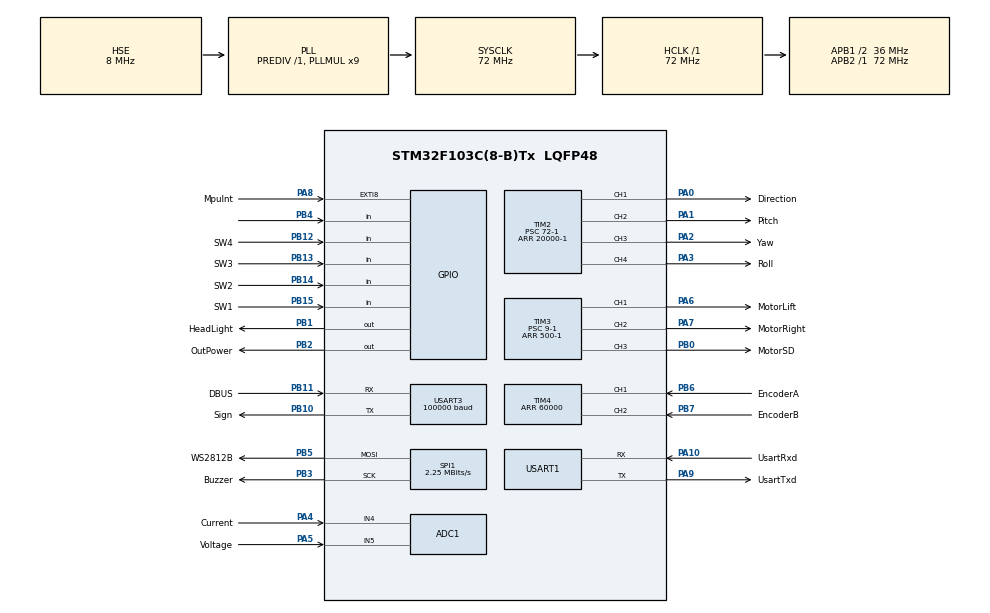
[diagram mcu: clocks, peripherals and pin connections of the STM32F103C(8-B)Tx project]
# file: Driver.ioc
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Mcu.Family=STM32F1
NVIC.USART3_IRQn=true\:5\:0\:true\:false\:true\:true\:true\:true
FREERTOS.Queues01=carSetSpeed,1,float,0,Dynamic,NULL,NULL;carSetDirection,1,float,0,Dynamic,NULL,NULL;carLight,1,uint16_t,0,Dynamic,NULL,NULL;carBuzzer,1,uint16_t,0,Dynamic,NULL,NULL;carControlMode,1,uint16_t,0,Dynamic,NULL,NULL;carControlGear,1,uint16_t,0,Dynamic,NULL,NULL;carRunaway,1,uint16_t,0,Dynamic,NULL,NULL;remoteSpeed,1,float,0,Dynamic,NULL,NULL;remoteDirection,1,float,0,Dynamic,NULL,NULL;carSpiLight,1,uint16_t,0,Dynamic,NULL,NULL;carBreak,1,uint8_t,0,Dynamic,NULL,NULL;carVoltage,1,float,0,Dynamic,NULL,NULL;carCurrent,1,float,0,Dynamic,NULL,NULL;carRealSpeed,1,float,0,Dynamic,NULL,NULL
FREERTOS.BinarySemaphores01=succRemoteUART,Dynamic,NULL;succRemoteDBUS,Dynamic,NULL
NVIC.DMA1_Channel5_IRQn=true\:2\:0\:true\:false\:true\:false\:false\:true
SPI1.VirtualType=VM_MASTER
PB10.Mode=Asynchronous
ADC1.ContinuousConvMode=ENABLE
PB14.GPIO_Label=SW2
VP_IWDG_VS_IWDG.Mode=IWDG_Activate
TIM4.EncoderMode=TIM_ENCODERMODE_TI12
PB0.GPIO_Label=MotorSD
PA6.GPIO_Label=MotorLift
PB6.GPIO_Label=EncoderA
NVIC.TIM1_UP_IRQn=true\:0\:0\:false\:false\:true\:false\:false\:true
TIM2.Channel-PWM\ Generation2\ CH2=TIM_CHANNEL_2
PB13.GPIO_Label=SW3
Dma.ADC1.3.PeriphDataAlignment=DMA_PDATAALIGN_HALFWORD
PB11.Signal=USART3_RX
PB13.Signal=GPIO_Input
PB15.Signal=GPIO_Input
RCC.SYSCLKSource=RCC_SYSCLKSOURCE_PLLCLK
ProjectManager.StackSize=0x400
PD1-OSC_OUT.Signal=RCC_OSC_OUT
NVIC.DMA1_Channel3_IRQn=true\:1\:0\:true\:false\:true\:false\:false\:true
Dma.ADC1.3.MemInc=DMA_MINC_ENABLE
Dma.USART3_RX.2.Priority=DMA_PRIORITY_VERY_HIGH
Dma.USART1_TX.0.Priority=DMA_PRIORITY_HIGH
USART3.BaudRate=100000
Dma.USART1_TX.0.Direction=DMA_MEMORY_TO_PERIPH
TIM2.Pulse-PWM\ Generation3\ CH3=1500
SPI1.Direction=SPI_DIRECTION_2LINES
PB1.GPIO_PuPd=GPIO_PULLDOWN
Dma.USART3_RX.2.PeriphInc=DMA_PINC_DISABLE
RCC.HCLKFreq_Value=72000000
RCC.APB2TimFreq_Value=72000000
TIM3.Period=500-1
PB6.Signal=S_TIM4_CH1
ADC1.Channel-2\#ChannelRegularConversion=ADC_CHANNEL_5
Dma.ADC1.3.PeriphInc=DMA_PINC_DISABLE
SPI1.CalculateBaudRate=2.25 MBits/s
Dma.USART1_RX.1.MemInc=DMA_MINC_ENABLE
RCC.AHBFreq_Value=72000000
TIM3.Channel-PWM\ Generation1\ CH1=TIM_CHANNEL_1
ADC1.Channel-0\#ChannelRegularConversion=ADC_CHANNEL_4
Dma.USART1_RX.1.PeriphDataAlignment=DMA_PDATAALIGN_BYTE
FREERTOS.configUSE_TIMERS=1
PB2.Signal=GPIO_Output
PB3.Mode=TX_Only_Simplex_Unidirect_Master
RCC.PLLMUL=RCC_PLL_MUL9
Dma.ADC1.3.Instance=DMA1_Channel1
PB12.GPIO_Label=SW4
ADC1.Rank-2\#ChannelRegularConversion=2
PA14.Mode=Serial_Wire
Dma.ADC1.3.Mode=DMA_CIRCULAR
VP_SYS_VS_tim1.Mode=TIM1
FREERTOS.HEAP_NUMBER=4
TIM3.Prescaler=9-1
PB1.GPIO_Label=HeadLight
PB5.Mode=TX_Only_Simplex_Unidirect_Master
PA10.GPIO_Label=UsartRxd
SH.S_TIM4_CH2.0=TIM4_CH2,Encoder_Interface
PB7.Signal=S_TIM4_CH2
PA8.Signal=GPXTI8
TIM2.Channel-PWM\ Generation1\ CH1=TIM_CHANNEL_1
SH.S_TIM3_CH1.0=TIM3_CH1,PWM Generation1 CH1
TIM4.Period=60000
VP_FREERTOS_VS_CMSIS_V1.Mode=CMSIS_V1
Dma.USART1_TX.0.PeriphDataAlignment=DMA_PDATAALIGN_BYTE
PB2.GPIO_PuPd=GPIO_PULLUP
ADC1.SamplingTime-0\#ChannelRegularConversion=ADC_SAMPLETIME_13CYCLES_5
FREERTOS.configTOTAL_HEAP_SIZE=8160
TIM3.OCPolarity_2=TIM_OCPOLARITY_HIGH
Dma.USART1_RX.1.Mode=DMA_CIRCULAR
PB7.GPIO_Label=EncoderB
Mcu.Package=LQFP48
TIM2.Prescaler=72-1
PB14.GPIO_PuPd=GPIO_PULLUP
PB1.Signal=GPIO_Output
PA6.Signal=S_TIM3_CH1
NVIC.TimeBase=TIM1_UP_IRQn
PB15.GPIO_PuPd=GPIO_PULLUP
PA2.GPIO_Label=Yaw
IWDG.Reload=625
NVIC.TimeBaseIP=TIM1
PA10.Signal=USART1_RX
Dma.USART1_TX.0.Instance=DMA1_Channel4
TIM2.Pulse-PWM\ Generation2\ CH2=1500
TIM4.IC1Filter=15
Dma.USART1_RX.1.PeriphInc=DMA_PINC_DISABLE
PB5.GPIO_Label=WS2812B
SH.S_TIM4_CH1.0=TIM4_CH1,Encoder_Interface
Dma.Request2=USART3_RX
Dma.Request1=USART1_RX
RCC.APB1TimFreq_Value=72000000
Dma.Request3=ADC1
TIM3.Pulse-PWM\ Generation2\ CH2=0
Dma.USART1_RX.1.Priority=DMA_PRIORITY_HIGH
NVIC.DMA1_Channel4_IRQn=true\:3\:0\:true\:false\:true\:false\:false\:true
NVIC.USART1_IRQn=true\:5\:0\:true\:false\:true\:true\:true\:true
Dma.Request0=USART1_TX
SPI1.BaudRatePrescaler=SPI_BAUDRATEPRESCALER_32
PA4.GPIO_Label=Current
PB4.Signal=GPIO_Input
PA3.Signal=S_TIM2_CH4
PB3.GPIO_Label=Buzzer
RCC.PLLSourceVirtual=RCC_PLLSOURCE_HSE
Dma.USART1_RX.1.Instance=DMA1_Channel5
TIM2.Channel-PWM\ Generation4\ CH4=TIM_CHANNEL_4
Dma.USART1_RX.1.MemDataAlignment=DMA_MDATAALIGN_BYTE
FREERTOS.Tasks01=runawayMonitor,1,128,StartRunawayMonitor,Default,NULL,Dynamic,NULL,NULL;motorPID,2,128,StartMotorPID,Default,NULL,Dynamic,NULL,NULL;remoteDBUS,0,128,StartRemoteDBUS,Default,NULL,Dynamic,NULL,NULL;remoteUART,0,128,StartRemoteUART,Default,NULL,Dynamic,NULL,NULL;lightSPI,-2,128,StartLightSPI,Default,NULL,Dynamic,NULL,NULL;gimbal,-3,128,StartGimbal,Default,NULL,Dynamic,NULL,NULL;featureSelect,-2,128,StartFeatureSelect,Default,NULL,Dynamic,NULL,NULL;statusReturn,-2,128,StartStatusReturn,Default,NULL,Dynamic,NULL,NULL;voltageMonitor,-2,128,StartVoltageMonitor,Default,NULL,Dynamic,NULL,NULL
ADC1.Rank-0\#ChannelRegularConversion=1
Dma.USART1_TX.0.MemInc=DMA_MINC_ENABLE
PD1-OSC_OUT.Mode=HSE-External-Oscillator
Dma.USART1_TX.0.PeriphInc=DMA_PINC_DISABLE
PA10.Mode=Asynchronous
Dma.USART3_RX.2.Mode=DMA_CIRCULAR
TIM3.AutoReloadPreload=TIM_AUTORELOAD_PRELOAD_ENABLE
PA9.GPIO_Label=UsartTxd
FREERTOS.INCLUDE_vTaskDelayUntil=1
Dma.ADC1.3.Priority=DMA_PRIORITY_MEDIUM
PB11.GPIO_Label=DBUS
TIM4.IC2Filter=15
PD0-OSC_IN.Signal=RCC_OSC_IN
RCC.APB1CLKDivider=RCC_HCLK_DIV2
SH.S_TIM3_CH3.0=TIM3_CH3,PWM Generation3 CH3
ADC1.SamplingTime-2\#ChannelRegularConversion=ADC_SAMPLETIME_28CYCLES_5
PA0-WKUP.GPIO_Label=Direction
PA0-WKUP.Signal=S_TIM2_CH1_ETR
TIM2.Pulse-PWM\ Generation1\ CH1=1500
RCC.ADCPresc=RCC_ADCPCLK2_DIV6
PA13.Signal=SYS_JTMS-SWDIO
TIM3.Channel-PWM\ Generation3\ CH3=TIM_CHANNEL_3
SH.S_TIM2_CH2.0=TIM2_CH2,PWM Generation2 CH2
PA9.Mode=Asynchronous
Dma.USART3_RX.2.PeriphDataAlignment=DMA_PDATAALIGN_BYTE
PA8.GPIO_Label=MpuInt
Dma.USART3_RX.2.MemInc=DMA_MINC_ENABLE
PB11.Mode=Asynchronous
ProjectManager.TargetToolchain=MDK-ARM V5.27
PB10.GPIO_Label=Sign
PA9.Signal=USART1_TX
RCC.USBFreq_Value=72000000
Dma.USART3_RX.2.Direction=DMA_PERIPH_TO_MEMORY
PA1.Signal=S_TIM2_CH2
PD0-OSC_IN.Mode=HSE-External-Oscillator
PB10.Signal=USART3_TX
PB14.Signal=GPIO_Input
PA5.Signal=ADCx_IN5
SH.S_TIM3_CH2.0=TIM3_CH2,PWM Generation2 CH2
Dma.ADC1.3.MemDataAlignment=DMA_MDATAALIGN_HALFWORD
Dma.ADC1.3.Direction=DMA_PERIPH_TO_MEMORY
Dma.USART1_TX.0.Mode=DMA_NORMAL
board=custom
ADC1.EnableAnalogWatchDog=false
USART3.WordLength=WORDLENGTH_9B
PB13.GPIO_PuPd=GPIO_PULLUP
NVIC.SPI1_IRQn=true\:0\:0\:true\:false\:true\:false\:true\:true
RCC.APB2Freq_Value=72000000
PB15.GPIO_Label=SW1
SH.S_TIM2_CH3.0=TIM2_CH3,PWM Generation3 CH3
SPI1.Mode=SPI_MODE_MASTER
PA1.GPIO_Label=Pitch
TIM2.Channel-PWM\ Generation3\ CH3=TIM_CHANNEL_3
SH.ADCx_IN4.0=ADC1_IN4,IN4
TIM2.Period=20000-1
ADC1.NbrOfConversion=2
PA13.Mode=Serial_Wire
PB2.PinState=GPIO_PIN_SET
Mcu.Name=STM32F103C(8-B)Tx
PA2.Signal=S_TIM2_CH3
PB3.Signal=SPI1_SCK
PA4.Signal=ADCx_IN4
RCC.SYSCLKFreq_VALUE=72000000
PB5.Signal=SPI1_MOSI
USART3.Mode=MODE_RX
PA7.GPIO_Label=MotorRight
ADC1.master=1
PA5.GPIO_Label=Voltage
USART3.VirtualMode=VM_ASYNC
USART1.VirtualMode=VM_ASYNC
SH.S_TIM2_CH1_ETR.0=TIM2_CH1,PWM Generation1 CH1
Dma.USART1_TX.0.MemDataAlignment=DMA_MDATAALIGN_BYTE
PA14.Signal=SYS_JTCK-SWCLK
PB2.GPIO_Label=OutPower
ProjectManager.HeapSize=0x200
SH.S_TIM2_CH4.0=TIM2_CH4,PWM Generation4 CH4
PA8.GPIO_PuPd=GPIO_PULLUP
SH.ADCx_IN5.0=ADC1_IN5,IN5
Dma.USART3_RX.2.MemDataAlignment=DMA_MDATAALIGN_BYTE
NVIC.PriorityGroup=NVIC_PRIORITYGROUP_4
ADC1.NbrOfConversionFlag=1
TIM3.Channel-PWM\ Generation2\ CH2=TIM_CHANNEL_2
IWDG.Prescaler=IWDG_PRESCALER_32
TIM2.AutoReloadPreload=TIM_AUTORELOAD_PRELOAD_ENABLE
TIM2.Pulse-PWM\ Generation4\ CH4=1500
Dma.USART1_RX.1.Direction=DMA_PERIPH_TO_MEMORY
NVIC.DMA1_Channel1_IRQn=true\:5\:0\:true\:false\:true\:true\:false\:true
Dma.USART3_RX.2.Instance=DMA1_Channel3
PB12.GPIO_PuPd=GPIO_PULLUP
RCC.APB1Freq_Value=36000000
PB0.Signal=S_TIM3_CH3
PB12.Signal=GPIO_Input
PA3.GPIO_Label=Roll
PA7.Signal=S_TIM3_CH2
USART3.Parity=PARITY_EVEN

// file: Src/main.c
/* USER CODE BEGIN Header */
/**
  ******************************************************************************
  * @file           : main.c
  * @brief          : Main program body
  ******************************************************************************
  * @attention
  *
  * <h2><center>&copy; Copyright (c) 2020 STMicroelectronics.
  * All rights reserved.</center></h2>
  *
  * This software component is licensed by ST under Ultimate Liberty license
  * SLA0044, the "License"; You may not use this file except in compliance with
  * the License. You may obtain a copy of the License at:
  *                             www.st.com/SLA0044
  *
  ******************************************************************************
  */

/**
	* 注意：硬件看门狗 500ms，PID任务中喂狗
	*				失控保护 510ms，保护动作：停车&方向回正。
	*				串口下发数据 > 2Hz，回传 4Hz。
	*/
/* USER CODE END Header */

#include "main.h"
#include "cmsis_os.h"
#include "adc.h"
#include "dma.h"
#include "iwdg.h"
#include "spi.h"
#include "tim.h"
#include "usart.h"
#include "gpio.h"

/* USER CODE BEGIN Includes */
#include "stm32f1xx_it.h"

/* USER CODE END Includes */

/* USER CODE BEGIN PV */
#if DEBUG
	//PID Debug
	int16_t Input = 0, Output = 0, SetPoint = 0, DebugSpeed = 0;
	int16_t Et = 0, LastErr = 0, LastTwoErr = 0;

	//Car Debug
	int16_t Voltage = 0, Current = 0;
#endif

/* USER CODE END PV */

void SystemClock_Config(void);
void MX_FREERTOS_Init(void);

int main(void)
{

  /* MCU Configuration--------------------------------------------------------*/

  /* Reset of all peripherals, Initializes the Flash interface and the Systick. */
  HAL_Init();

  /* Configure the system clock */
  SystemClock_Config();

  /* Initialize all configured peripherals */
  MX_GPIO_Init();
  MX_DMA_Init();
  MX_ADC1_Init();
  MX_SPI1_Init();
  MX_TIM2_Init();
  MX_TIM3_Init();
  MX_TIM4_Init();
  MX_USART1_UART_Init();
  MX_USART3_UART_Init();
  MX_IWDG_Init();

  /* Call init function for freertos objects (in freertos.c) */
  MX_FREERTOS_Init();

  /* Start scheduler */
  osKernelStart();

  /* We should never get here as control is now taken by the scheduler */

  /* Infinite loop */
  while (1)
  {

  }
}

void SystemClock_Config(void)
{
  RCC_OscInitTypeDef RCC_OscInitStruct = {0};
  RCC_ClkInitTypeDef RCC_ClkInitStruct = {0};
  RCC_PeriphCLKInitTypeDef PeriphClkInit = {0};

  /** Initializes the CPU, AHB and APB busses clocks
  */
  RCC_OscInitStruct.OscillatorType = RCC_OSCILLATORTYPE_LSI|RCC_OSCILLATORTYPE_HSE;
  RCC_OscInitStruct.HSEState = RCC_HSE_ON;
  RCC_OscInitStruct.HSEPredivValue = RCC_HSE_PREDIV_DIV1;
  RCC_OscInitStruct.HSIState = RCC_HSI_ON;
  RCC_OscInitStruct.LSIState = RCC_LSI_ON;
  RCC_OscInitStruct.PLL.PLLState = RCC_PLL_ON;
  RCC_OscInitStruct.PLL.PLLSource = RCC_PLLSOURCE_HSE;
  RCC_OscInitStruct.PLL.PLLMUL = RCC_PLL_MUL9;
  if (HAL_RCC_OscConfig(&RCC_OscInitStruct) != HAL_OK)
  {
    Error_Handler();
  }
  /** Initializes the CPU, AHB and APB busses clocks
  */
  RCC_ClkInitStruct.ClockType = RCC_CLOCKTYPE_HCLK|RCC_CLOCKTYPE_SYSCLK
                              |RCC_CLOCKTYPE_PCLK1|RCC_CLOCKTYPE_PCLK2;
  RCC_ClkInitStruct.SYSCLKSource = RCC_SYSCLKSOURCE_PLLCLK;
  RCC_ClkInitStruct.AHBCLKDivider = RCC_SYSCLK_DIV1;
  RCC_ClkInitStruct.APB1CLKDivider = RCC_HCLK_DIV2;
  RCC_ClkInitStruct.APB2CLKDivider = RCC_HCLK_DIV1;

  if (HAL_RCC_ClockConfig(&RCC_ClkInitStruct, FLASH_LATENCY_2) != HAL_OK)
  {
    Error_Handler();
  }
  PeriphClkInit.PeriphClockSelection = RCC_PERIPHCLK_ADC;
  PeriphClkInit.AdcClockSelection = RCC_ADCPCLK2_DIV6;
  if (HAL_RCCEx_PeriphCLKConfig(&PeriphClkInit) != HAL_OK)
  {
    Error_Handler();
  }
}

void HAL_TIM_PeriodElapsedCallback(TIM_HandleTypeDef *htim)
{
  if (htim->Instance == TIM1) {
    HAL_IncTick();
  }
}

void Error_Handler(void)
{
}

#ifdef  USE_FULL_ASSERT
/**
  * @brief  Reports the name of the source file and the source line number
  *         where the assert_param error has occurred.
  * @param  file: pointer to the source file name
  * @param  line: assert_param error line source number
  * @retval None
  */
void assert_failed(uint8_t *file, uint32_t line)
{
  /* USER CODE BEGIN 6 */
/* USER CODE BEGIN Header_StartLedSign */
/**
  * @brief  Function implementing the ledSign thread.
  * @param  argument: Not used
  * @retval None
  */
/* USER CODE END Header_StartLedSign */
void StartMotorPID(void const * argument)
{
  /* USER CODE BEGIN 5 */
  /* Infinite loop */
  for(;;)
  {
		HAL_GPIO_TogglePin(Sign_GPIO_Port, Sign_Pin);
    osDelay(500);
  }
  /* USER CODE END 5 */
}

  /* USER CODE END 6 */
}
#endif /* USE_FULL_ASSERT */

/************************ (C) COPYRIGHT STMicroelectronics *****END OF FILE****/

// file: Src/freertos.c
/* USER CODE BEGIN Header */
/**
  ******************************************************************************
  * File Name          : freertos.c
  * Description        : Code for freertos applications
  ******************************************************************************
  * @attention
  *
  * <h2><center>&copy; Copyright (c) 2020 STMicroelectronics.
  * All rights reserved.</center></h2>
  *
  * This software component is licensed by ST under Ultimate Liberty license
  * SLA0044, the "License"; You may not use this file except in compliance with
  * the License. You may obtain a copy of the License at:
  *                             www.st.com/SLA0044
  *
  ******************************************************************************
  */
/* USER CODE END Header */

#include "FreeRTOS.h"
#include "task.h"
#include "main.h"
#include "cmsis_os.h"

/* USER CODE BEGIN Includes */
#include "adc.h"
#include "dma.h"
#include "iwdg.h"
#include "spi.h"
#include "tim.h"
#include "usart.h"
#include "gpio.h"
#include "math.h"

/* USER CODE END Includes */

osThreadId runawayMonitorHandle;
osThreadId motorPIDHandle;
osThreadId remoteDBUSHandle;
osThreadId remoteUARTHandle;
osThreadId lightSPIHandle;
osThreadId gimbalHandle;
osThreadId featureSelectHandle;
osThreadId statusReturnHandle;
osThreadId voltageMonitorHandle;
osMessageQId carSetSpeedHandle;
osMessageQId carSetDirectionHandle;
osMessageQId carLightHandle;
osMessageQId carBuzzerHandle;
osMessageQId carControlModeHandle;
osMessageQId carControlGearHandle;
osMessageQId carRunawayHandle;
osMessageQId remoteSpeedHandle;
osMessageQId remoteDirectionHandle;
osMessageQId carSpiLightHandle;
osMessageQId carBreakHandle;
osMessageQId carVoltageHandle;
osMessageQId carCurrentHandle;
osMessageQId carRealSpeedHandle;
osSemaphoreId succRemoteUARTHandle;
osSemaphoreId succRemoteDBUSHandle;

void StartRunawayMonitor(void const * argument);
void StartMotorPID(void const * argument);
void StartRemoteDBUS(void const * argument);
void StartRemoteUART(void const * argument);
void StartLightSPI(void const * argument);
void StartGimbal(void const * argument);
void StartFeatureSelect(void const * argument);
void StartStatusReturn(void const * argument);
void StartVoltageMonitor(void const * argument);

void MX_FREERTOS_Init(void); /* (MISRA C 2004 rule 8.1) */

/* GetIdleTaskMemory prototype (linked to static allocation support) */
void vApplicationGetIdleTaskMemory( StaticTask_t **ppxIdleTaskTCBBuffer, StackType_t **ppxIdleTaskStackBuffer, uint32_t *pulIdleTaskStackSize );

/* GetTimerTaskMemory prototype (linked to static allocation support) */
void vApplicationGetTimerTaskMemory( StaticTask_t **ppxTimerTaskTCBBuffer, StackType_t **ppxTimerTaskStackBuffer, uint32_t *pulTimerTaskStackSize );

/* USER CODE BEGIN GET_IDLE_TASK_MEMORY */
static StaticTask_t xIdleTaskTCBBuffer;
static StackType_t xIdleStack[configMINIMAL_STACK_SIZE];

void vApplicationGetIdleTaskMemory( StaticTask_t **ppxIdleTaskTCBBuffer, StackType_t **ppxIdleTaskStackBuffer, uint32_t *pulIdleTaskStackSize )
{
  *ppxIdleTaskTCBBuffer = &xIdleTaskTCBBuffer;
  *ppxIdleTaskStackBuffer = &xIdleStack[0];
  *pulIdleTaskStackSize = configMINIMAL_STACK_SIZE;
  /* place for user code */
}
/* USER CODE END GET_IDLE_TASK_MEMORY */

/* USER CODE BEGIN GET_TIMER_TASK_MEMORY */
static StaticTask_t xTimerTaskTCBBuffer;
static StackType_t xTimerStack[configTIMER_TASK_STACK_DEPTH];

void vApplicationGetTimerTaskMemory( StaticTask_t **ppxTimerTaskTCBBuffer, StackType_t **ppxTimerTaskStackBuffer, uint32_t *pulTimerTaskStackSize )
{
  *ppxTimerTaskTCBBuffer = &xTimerTaskTCBBuffer;
  *ppxTimerTaskStackBuffer = &xTimerStack[0];
  *pulTimerTaskStackSize = configTIMER_TASK_STACK_DEPTH;
  /* place for user code */
}
/* USER CODE END GET_TIMER_TASK_MEMORY */

void MX_FREERTOS_Init(void) {

  /* Create the semaphores(s) */
  /* definition and creation of succRemoteUART */
  osSemaphoreDef(succRemoteUART);
  succRemoteUARTHandle = osSemaphoreCreate(osSemaphore(succRemoteUART), 1);

  /* definition and creation of succRemoteDBUS */
  osSemaphoreDef(succRemoteDBUS);
  succRemoteDBUSHandle = osSemaphoreCreate(osSemaphore(succRemoteDBUS), 1);

  /* Create the queue(s) */
  /* definition and creation of carSetSpeed */
  osMessageQDef(carSetSpeed, 1, float);
  carSetSpeedHandle = osMessageCreate(osMessageQ(carSetSpeed), NULL);

  /* definition and creation of carSetDirection */
  osMessageQDef(carSetDirection, 1, float);
  carSetDirectionHandle = osMessageCreate(osMessageQ(carSetDirection), NULL);

  /* definition and creation of carLight */
  osMessageQDef(carLight, 1, uint16_t);
  carLightHandle = osMessageCreate(osMessageQ(carLight), NULL);

  /* definition and creation of carBuzzer */
  osMessageQDef(carBuzzer, 1, uint16_t);
  carBuzzerHandle = osMessageCreate(osMessageQ(carBuzzer), NULL);

  /* definition and creation of carControlMode */
  osMessageQDef(carControlMode, 1, uint16_t);
  carControlModeHandle = osMessageCreate(osMessageQ(carControlMode), NULL);

  /* definition and creation of carControlGear */
  osMessageQDef(carControlGear, 1, uint16_t);
  carControlGearHandle = osMessageCreate(osMessageQ(carControlGear), NULL);

  /* definition and creation of carRunaway */
  osMessageQDef(carRunaway, 1, uint16_t);
  carRunawayHandle = osMessageCreate(osMessageQ(carRunaway), NULL);

  /* definition and creation of remoteSpeed */
  osMessageQDef(remoteSpeed, 1, float);
  remoteSpeedHandle = osMessageCreate(osMessageQ(remoteSpeed), NULL);

  /* definition and creation of remoteDirection */
  osMessageQDef(remoteDirection, 1, float);
  remoteDirectionHandle = osMessageCreate(osMessageQ(remoteDirection), NULL);

  /* definition and creation of carSpiLight */
  osMessageQDef(carSpiLight, 1, uint16_t);
  carSpiLightHandle = osMessageCreate(osMessageQ(carSpiLight), NULL);

  /* definition and creation of carBreak */
  osMessageQDef(carBreak, 1, uint8_t);
  carBreakHandle = osMessageCreate(osMessageQ(carBreak), NULL);

  /* definition and creation of carVoltage */
  osMessageQDef(carVoltage, 1, float);
  carVoltageHandle = osMessageCreate(osMessageQ(carVoltage), NULL);

  /* definition and creation of carCurrent */
  osMessageQDef(carCurrent, 1, float);
  carCurrentHandle = osMessageCreate(osMessageQ(carCurrent), NULL);

  /* definition and creation of carRealSpeed */
  osMessageQDef(carRealSpeed, 1, float);
  carRealSpeedHandle = osMessageCreate(osMessageQ(carRealSpeed), NULL);

  /* Create the thread(s) */
  /* definition and creation of runawayMonitor */
  osThreadDef(runawayMonitor, StartRunawayMonitor, osPriorityAboveNormal, 0, 128);
  runawayMonitorHandle = osThreadCreate(osThread(runawayMonitor), NULL);

  /* definition and creation of motorPID */
  osThreadDef(motorPID, StartMotorPID, osPriorityHigh, 0, 128);
  motorPIDHandle = osThreadCreate(osThread(motorPID), NULL);

  /* definition and creation of remoteDBUS */
  osThreadDef(remoteDBUS, StartRemoteDBUS, osPriorityNormal, 0, 128);
  remoteDBUSHandle = osThreadCreate(osThread(remoteDBUS), NULL);

  /* definition and creation of remoteUART */
  osThreadDef(remoteUART, StartRemoteUART, osPriorityNormal, 0, 128);
  remoteUARTHandle = osThreadCreate(osThread(remoteUART), NULL);

  /* definition and creation of lightSPI */
  osThreadDef(lightSPI, StartLightSPI, osPriorityLow, 0, 128);
  lightSPIHandle = osThreadCreate(osThread(lightSPI), NULL);

  /* definition and creation of gimbal */
  osThreadDef(gimbal, StartGimbal, osPriorityIdle, 0, 128);
  gimbalHandle = osThreadCreate(osThread(gimbal), NULL);

  /* definition and creation of featureSelect */
  osThreadDef(featureSelect, StartFeatureSelect, osPriorityLow, 0, 128);
  featureSelectHandle = osThreadCreate(osThread(featureSelect), NULL);

  /* definition and creation of statusReturn */
  osThreadDef(statusReturn, StartStatusReturn, osPriorityLow, 0, 128);
  statusReturnHandle = osThreadCreate(osThread(statusReturn), NULL);

  /* definition and creation of voltageMonitor */
  osThreadDef(voltageMonitor, StartVoltageMonitor, osPriorityLow, 0, 128);
  voltageMonitorHandle = osThreadCreate(osThread(voltageMonitor), NULL);

  /* USER CODE BEGIN RTOS_THREADS */
  /* add threads, ... */
	//喂狗
	HAL_IWDG_Refresh(&hiwdg);

	//挂起任务
	vTaskSuspend(remoteDBUSHandle);			//挂起DBUS遥控任务
	vTaskSuspend(remoteUARTHandle);			//挂起UART遥控任务
	vTaskSuspend(lightSPIHandle);				//挂起Ws2812b灯带任务
	vTaskSuspend(gimbalHandle);					//挂起云台任务

  /* USER CODE END RTOS_THREADS */

}

void StartRunawayMonitor(void const * argument)
{
  /* USER CODE BEGIN StartRunawayMonitor */
	//失控保护
	//超时 500ms + 10ms(冗余) 未收到有效数据，则执行失控保护
	//失控保护动作：速度 0m/s，方向回中，触发失控 标志
  float IWDG_CarSetSpeed = 0, IWDG_CarSetDirection = 0;
	uint16_t IWDG_CarDirectionZero = 1500;
	uint16_t IWDG_CarRunaway = 1;

	//舵机 方向
	HAL_TIM_PWM_Start(&htim2, TIM_CHANNEL_1);						//Direction

	//上电回中
	__HAL_TIM_SET_COMPARE(&htim2, TIM_CHANNEL_1, IWDG_CarDirectionZero - IWDG_CarSetDirection);

  /* Infinite loop */
  for(;;)
  {
		HAL_GPIO_TogglePin(Sign_GPIO_Port, Sign_Pin);
		//失控保护
		if(xQueueReceive(remoteSpeedHandle, &IWDG_CarSetSpeed, 510) == pdFALSE)
		{
			IWDG_CarSetSpeed = 0;
			IWDG_CarSetDirection = 0;
			IWDG_CarRunaway = 1;
		}
		else
			if(xQueueReceive(remoteDirectionHandle, &IWDG_CarSetDirection, 10) == pdFALSE)
			{
				IWDG_CarSetSpeed = 0;
				IWDG_CarSetDirection = 0;
				IWDG_CarRunaway = 1;
			}
			else
				IWDG_CarRunaway = 0;

		//方向 限幅 & 输出
		IWDG_CarSetDirection = IWDG_CarSetDirection < -330 ? -330 : IWDG_CarSetDirection;
		IWDG_CarSetDirection = IWDG_CarSetDirection > 330 ? 330 : IWDG_CarSetDirection;
		__HAL_TIM_SET_COMPARE(&htim2, TIM_CHANNEL_1, IWDG_CarDirectionZero - IWDG_CarSetDirection);

		//车速 限幅
		IWDG_CarSetSpeed = IWDG_CarSetSpeed < -5.0 ? -5.0 : IWDG_CarSetSpeed;
		IWDG_CarSetSpeed = IWDG_CarSetSpeed > 5.0 ? 5.0 : IWDG_CarSetSpeed;

		//覆写 消息队列
		xQueueOverwrite(carSetSpeedHandle, &IWDG_CarSetSpeed);
		xQueueOverwrite(carSetDirectionHandle, &IWDG_CarSetDirection);
		xQueueOverwrite(carRunawayHandle, &IWDG_CarRunaway);
  }
  /* USER CODE END StartRunawayMonitor */
}

void StartMotorPID(void const * argument)
{
  /* USER CODE BEGIN StartMotorPID */
	//PID 运算
	//增量式 PID，周期 20ms
	int16_t pidInput = 0, pidSetPoint = 0;
	int16_t pidEt = 0, pidLastErr = 0, pidLastTwoErr = 0;
	double pidOutput = 0.0;
	float pidKp = 0, pidKi = 0, pidKd  = 0;
	uint16_t pidMotorOutput = 0;
	float pidCarRealSpeed = 0;

	//刹车
	int16_t pidSetPointLast = 0;
	uint8_t pidCarBreak = 0;
	uint8_t pidCarBreakRemove = 0;
	uint32_t pidCarStopTime = 0;

	//车运行数据
	float pidCarSetSpeed = 0;

	//精准延时
	TickType_t pidLastTick = xTaskGetTickCount();

	//电机自检
	if(MotorSelfCheck())
		MotorMusicSuccess();
	else
		MotorMusicError();
	//重新初始化TIM3
	MX_TIM3_Init();
	//重新初始化电机方向引脚为 普通GPIO
	MotorGpioReInit();
	//编码器
	HAL_TIM_Encoder_Start(&htim4, TIM_CHANNEL_ALL);
	//安全起见，关输出
	__HAL_TIM_SET_COMPARE(&htim3, TIM_CHANNEL_3, 0);
	__HAL_TIM_SET_COMPARE(&htim3, TIM_CHANNEL_1, 0);	//低
	__HAL_TIM_SET_COMPARE(&htim3, TIM_CHANNEL_2, 0);	//低

	//设定PID参数 s=7,Ts=5;
	//Kp = 5.6 = 0.8 * s, Ki = 1.5 = 0.3 * Ts, Kd = 0.5 = 0.1 * Ts;
	pidKp = 4.0,	pidKi = 0.4, pidKd  = 0.3;

	//H桥电机
	HAL_TIM_PWM_Start(&htim3, TIM_CHANNEL_3);						//MotorSD
	//编码器 初值
	__HAL_TIM_SET_COUNTER(&htim4, 30000);

	//脉冲值 * 0.03 = 速度(m/s)
  /* Infinite loop */
  for(;;)
  {
		//喂狗
		HAL_IWDG_Refresh(&hiwdg);

		//获取 车速
		xQueuePeek(carSetSpeedHandle, &pidCarSetSpeed, 0);
		pidSetPoint = (int16_t)(pidCarSetSpeed * 33.33);	//m/s - > 脉冲值

		//设定值 限幅
		pidSetPoint = pidSetPoint < -167 ? -167 : pidSetPoint;
		pidSetPoint = pidSetPoint > 167 ? 167 : pidSetPoint;

		//获取编码器计数值
		pidInput = (uint32_t)(__HAL_TIM_GET_COUNTER(&htim4)) - 30000;
		__HAL_TIM_SET_COUNTER(&htim4, 30000);

		//PID
		pidEt = pidSetPoint - pidInput;
		pidOutput += pidKp * (pidEt - pidLastErr) + pidKi * pidEt + pidKd * (pidEt - 2 * pidLastErr + pidLastTwoErr);
		//PID限幅
		pidOutput = pidOutput > 265 ? 265 : pidOutput;
		pidOutput = pidOutput < -265 ? -265 : pidOutput;

		//停车时，尝试减小输出，尝试1次
		if(!pidSetPoint)
		{
			if(pidSetPointLast)										//刚下发 停车 指令
				pidCarStopTime = 0, pidCarBreakRemove = 0;
			else
				pidCarStopTime++;
			if(pidCarStopTime > 50)								//1s 后
			{
				if((!pidInput) && (pidLastErr))			//车 运动刚停下
					pidCarBreakRemove++;
				if(pidCarBreakRemove == 0)
					pidOutput += pidOutput < 0 ? 0.072 : -0.072;
			}
		}
		pidSetPointLast = pidSetPoint;

		//输出曲线。类似对数曲线。
		//分界点 25:256.7; 0.002453; -0.09653;
		//分界点 18:266.2; 0.002425; -0.125;
		//分界点 15:266.2; 0.002425; -0.155; use
		//可快速从驻车状态退出，且低速时刹车距离变短。
		//f(x) = 256.7[227.6, 285.8] * exp(0.002453[0.001927, 0.002979] * x)
		//				+ (-256.7[-297.8, -215.6]) * exp(-0.09653[-0.1635, -0.02957] * x);
		pidMotorOutput = 266.2 * (exp(0.002425 * (pidOutput < 0 ? - pidOutput : pidOutput))
											- exp(-0.155 * (pidOutput < 0 ? - pidOutput : pidOutput))) + 0.5;
		//输出 限幅
		pidMotorOutput = pidMotorOutput > 499 ? 499 : pidMotorOutput;

		//设定方向
		HAL_GPIO_WritePin(MotorLift_GPIO_Port, MotorLift_Pin, pidOutput < 0 ? GPIO_PIN_SET : GPIO_PIN_RESET);
		HAL_GPIO_WritePin(MotorRight_GPIO_Port, MotorRight_Pin, pidOutput < 0 ? GPIO_PIN_RESET : GPIO_PIN_SET);

		//电机 输出
		__HAL_TIM_SET_COMPARE(&htim3, TIM_CHANNEL_3, pidMotorOutput);

		//覆写消息
		pidCarBreak = (pidInput * pidOutput <= 0 ? 1 : 0);
		xQueueOverwrite(carBreakHandle, &pidCarBreak);
		pidCarRealSpeed = (pidInput * 33.33);
		xQueueOverwrite(carRealSpeedHandle, &pidCarRealSpeed);

		#if DEBUG
			//拷贝 Debug 数据
			SetPoint = pidSetPoint, Input = pidInput, Output = pidOutput;
			Et = pidMotorOutput, LastErr = pidCarBreakRemove, LastTwoErr = pidLastTwoErr;
		#endif

		pidLastTwoErr = pidLastErr;
		pidLastErr = pidEt;
    osDelayUntil(&pidLastTick, 20);
  }
  /* USER CODE END StartMotorPID */
}

void StartRemoteDBUS(void const * argument)
{
  /* USER CODE BEGIN StartRemoteDBUS */
    /*
    遥控器为 DJI DT7&DR16 Robomaster特殊固件
    官方尚未公开售卖&协议资料，所以这里删除了解码部分；您可根据自己的遥控器编写对应的解码；
    或者您可以不使用遥控器控制，只使用 USART1 控制车辆，可不修改该任务代码；
    使用USART3+DMA空闲中断的方式接收，空闲时触发中断，并向信号量写入数据；
    这里等待信号量，并解码。解码后写入速度、方向、各控制器件等队列，供其他任务使用；
    */
	//D-BUS
	//通道1：速度；通道2：方向（右手系）；
	//左拨杆：上：UART；中：低速（MAX 2.5m/s)；下：高速（MAX 5m/s）；
	//右拨杆：上：切换大灯状态（上升沿触发）；中：无动作；下：打开蜂鸣器（电平触发）
	//通道0&3，拨轮，键鼠：预留。
	uint8_t DBUS_RxBuffer[18] = {0};	//接收数据缓存区
	int16_t dbusRemoteSpeed = 0;		//速度
	int16_t dbusRemoteAngle = 0;		//角度
	uint8_t dbusRemoteSwitchLift = 0;		//遥控左开关状态
	uint8_t dbusRemoteSwitchRight = 0, dbusRemoteSwitchRightLast;	//遥控右开关状态
	uint8_t dbusErrorCount = 0;			//遥控数据错误计数

	float dbusRemoteSetSpeed = 0, dbusRemoteSetDirection = 0;
	uint16_t dbusCarControlMode = 0, dbusCarControlGear = 0;
	uint16_t dbusCarLight = 0, dbusCarBuzzer = 0;

	//开中断 会进入一次
	__HAL_UART_ENABLE_IT(&huart3, UART_IT_IDLE);					//DBUS 空闲中断
	HAL_UART_Receive_DMA(&huart3, DBUS_RxBuffer, 18);			//DMA

	//初始化遥控器 各通道 为 中位；【这里需根据您的遥控器设置为 中位 对应的参数】
	DBUS_RxBuffer[0] = 0x00;
	DBUS_RxBuffer[1] = 0x00;
	DBUS_RxBuffer[2] = 0x00;
	DBUS_RxBuffer[3] = 0x00;
	DBUS_RxBuffer[4] = 0x00;
	DBUS_RxBuffer[5] = 0x00;

  /* Infinite loop */
  for(;;)
  {
		osSemaphoreWait(succRemoteDBUSHandle, osWaitForever);

		//处理数据【需根据您的遥控器修改，这里只是演示，无法运行；】
		//遥控器面板 0~3通道
//		CH0 = DBUS_RxBuffer[0];
		dbusRemoteSpeed = DBUS_RxBuffer[1];
		dbusRemoteAngle = DBUS_RxBuffer[2];
//		CH3 = DBUS_RxBuffer[3];

		dbusRemoteSwitchLift = (DBUS_RxBuffer[4] & 0x0003;		//左拨杆 档位:上1，下2，中3
		dbusRemoteSwitchRight = DBUS_RxBuffer[5] & 0x0003;		//右拨杆 档位:上1，下2，中3
//		TrackWheel = DBUS_RxBuffer[16];		//拨轮

		//判断遥控数据是否正确
		dbusErrorCount = 0;
		dbusErrorCount += dbusRemoteSpeed > 660 ? 1 : 0;
		dbusErrorCount += dbusRemoteSpeed < -660 ? 1 : 0;
		dbusErrorCount += dbusRemoteAngle > 660 ? 1 : 0;
		dbusErrorCount += dbusRemoteAngle < -660 ? 1 : 0;
		dbusErrorCount += dbusRemoteSwitchLift > 3 ? 1 : 0;
		dbusErrorCount += dbusRemoteSwitchLift == 0 ? 1 : 0;
		dbusErrorCount += dbusRemoteSwitchRight > 3 ? 1 : 0;
		dbusErrorCount += dbusRemoteSwitchRight == 0 ? 1 : 0;
		if(dbusErrorCount)	//数据存在错误，跳过本次循环
			continue;

        // 【以下部分不用修改，可直接使用】
		//左拨杆
		if(dbusRemoteSwitchLift != 1)									//非上 -> 遥控器控制
		{
			dbusCarControlMode = 1;
			if((dbusRemoteSpeed < 10) && (dbusRemoteSpeed > -10)) dbusRemoteSpeed = 0;		//摇杆死区
			if(dbusRemoteSwitchLift == 3)	//中 -> 低速
			{
				dbusCarControlGear = 1;
				dbusRemoteSpeed *= 0.5;
			}
			else
				dbusCarControlGear = 2;			//下 -> 高速
			dbusRemoteSetSpeed = (float)dbusRemoteSpeed * 0.00758;	//摇杆值 转 速度m/s(0.00758 = 1 / (660 / 5m/s))
			dbusRemoteSetDirection = (float)dbusRemoteAngle * 0.5;

			//覆写消息队列
			xQueueOverwrite(remoteSpeedHandle, &dbusRemoteSetSpeed);
			xQueueOverwrite(remoteDirectionHandle, &dbusRemoteSetDirection);
			xQueueOverwrite(carControlGearHandle, &dbusCarControlGear);
		}
		else			//上 -> 串口控制
		{
			dbusCarControlMode = 2;
		}
		xQueueOverwrite(carControlModeHandle, &dbusCarControlMode);

		//右拨杆 -> 大灯 & 喇叭
		if(dbusRemoteSwitchRight != dbusRemoteSwitchRightLast)
		{
			if(dbusRemoteSwitchRight == 1)			//上 -> 大灯
			{
				xQueuePeek(carLightHandle, &dbusCarLight, 7);
				dbusCarLight = (dbusCarLight != 0) ? 0 : 1;
				xQueueOverwrite(carLightHandle, &dbusCarLight);
			}
			else
				if(dbusRemoteSwitchRight == 2)				//下 -> 喇叭
				{
					xQueuePeek(carBuzzerHandle, &dbusCarBuzzer, 7);
					dbusCarBuzzer = (dbusCarBuzzer != 0) ? 0 : 1;
					xQueueOverwrite(carBuzzerHandle, &dbusCarBuzzer);
				}
		}
		dbusRemoteSwitchRightLast = dbusRemoteSwitchRight;
	}
  /* USER CODE END StartRemoteDBUS */
}

void StartRemoteUART(void const * argument)
{
  /* USER CODE BEGIN StartRemoteUART */
	//UART
	//115200bps，8位数据，1位停止，无校验；
	//16/帧
	//0&1&2：帧头0x4D 0x6F 0x65
	//3&4 ：速度（m/s）* 100 + 1000 [大端模式]
	//5&6 ：方向（舵机脉宽） + 1000；（中位 0 + 1000）[大端模式]
	//7：大灯；8：蜂鸣器；9：WS2812B彩灯
	//10 - 15：预留
	uint8_t UARTRxBuffer[16] = {0};
	float uartRemoteSpeed = 0, uartRemoteDirection = 0;
	uint16_t uartCarControlMode = 0;
	uint16_t uartCarControlGear = 0;
	uint16_t uartCarLight = 0, uartCarBuzzer = 0,uartCarSpiLight = 0;

	//开中断 会进入一次
	__HAL_UART_ENABLE_IT(&huart1, UART_IT_IDLE);					// 空闲中断
	HAL_UART_Receive_DMA(&huart1, UARTRxBuffer, 16);			//DMA

  /* Infinite loop */
  for(;;)
  {
		osSemaphoreWait(succRemoteUARTHandle, osWaitForever);

		xQueuePeek(carControlModeHandle, &uartCarControlMode, 1);
		if(uartCarControlMode == 2)		//允许串口控制
		{
			if((UARTRxBuffer[0] == 0x4D) && (UARTRxBuffer[1] == 0x6F)
					&& (UARTRxBuffer[2] == 0x65))														//校验帧头
			{
				uartRemoteSpeed = ((((UARTRxBuffer[3] << 8) & 0xFF00) | UARTRxBuffer[4]) - 1000) / 100;
				uartRemoteDirection = ((((UARTRxBuffer[5] << 8) & 0xFF00) | UARTRxBuffer[6]) - 1000);
				uartCarControlGear = 2;     // 默认高速档位 max 5m/s
				//覆写 消息队列
				if((uartRemoteSpeed < 0 ? -uartRemoteSpeed : uartRemoteSpeed) <= 5.0)
					xQueueOverwrite(remoteSpeedHandle, &uartRemoteSpeed);
				if((uartRemoteDirection < 0 ? -uartRemoteDirection : uartRemoteDirection) <= 330.0)
					xQueueOverwrite(remoteDirectionHandle, &uartRemoteDirection);
				xQueueOverwrite(carControlGearHandle, &uartCarControlGear);

				uartCarLight = (UARTRxBuffer[7] != 0) ? 0x0001 : 0x0000;
				uartCarBuzzer = (UARTRxBuffer[8] != 0) ? 0x0001 : 0x0000;
				uartCarSpiLight = (UARTRxBuffer[9] != 0) ? 0x0001 : 0x0000;
				xQueueOverwrite(carLightHandle, &uartCarLight);
				xQueueOverwrite(carBuzzerHandle, &uartCarBuzzer);
				xQueueOverwrite(carSpiLightHandle, &uartCarSpiLight);
			}
		}
  }
  /* USER CODE END StartRemoteUART */
}

void StartLightSPI(void const * argument)
{
  /* USER CODE BEGIN StartLightSPI */
	//WS2812B彩灯
	//SPI模拟单线归零码
	//DBUS控制：低速 -> 绿灯；高速 -> 蓝灯；
	//UART控制：黄灯
	//失控    ：红灯
	//尾灯：刹车 高亮；行车 低亮
	uint8_t i;
	uint8_t spiValue[6] = {0x00};							//亮度运算值

	float spiCarSetSpeed = 0;
	uint16_t spiCarControlMode = 0, spiCarControlGear = 0;
	uint16_t spiCarRunaway = 0,spiCarSpiLight = 0;
	uint8_t spiCarBreak = 0;

  /* Infinite loop */
  for(;;)
  {
		xQueuePeek(carSpiLightHandle, &spiCarSpiLight, 1);
		if(spiCarSpiLight == 0)		//失能 灯带
			Ws2812ExtinguishAll();	//清空灯带
		else
		{
			Ws2812ExtinguishAll();	//清空灯带
			xQueuePeek(carRunawayHandle, &spiCarRunaway, 1);

			if(spiCarRunaway == 1)					//失控 -> 红灯
				Ws2812bSetContinuous(1, 12, 50, 0, 0);
			else			//未失控
			{
				//获取消息队列
				xQueuePeek(carControlModeHandle, &spiCarControlMode, 1);
				xQueuePeek(carControlGearHandle, &spiCarControlGear, 1);
				xQueuePeek(carSetSpeedHandle, &spiCarSetSpeed, 1);
				//取绝对值
				spiCarSetSpeed = spiCarSetSpeed < 0 ? -spiCarSetSpeed : spiCarSetSpeed;
				//低速时 翻倍;(spiCarControlGear = 1：低速，2：高速)
				spiCarSetSpeed *= (3 - spiCarControlGear);
				//清空spiValue
				for(i = 0; i < 6; i++)
					spiValue[i] = 0;
				//设置灯带数据
				spiValue[0] = 255;
				for(i = 1; i < (uint8_t)(spiCarSetSpeed + 1); i++)
					spiValue[i] = 255;
				spiValue[i] = (uint8_t)((spiCarSetSpeed - (i - 1)) * 258);
				//选择显示颜色
				for(i = 1; i <= 6; i++)
				{
					if(spiCarControlMode == 2)				//串口控制 -> 黄
					{
						Ws2812bSet(i, spiValue[i - 1], spiValue[i - 1], 0);
						Ws2812bSet(13 - i, spiValue[i - 1], spiValue[i - 1], 0);
					}
					else
						if(spiCarControlGear == 2)			//高速
						{
							Ws2812bSet(i, 0, 0, spiValue[i - 1]);
							Ws2812bSet(13 - i, 0, 0, spiValue[i - 1]);
						}
						else
							if(spiCarControlGear == 1)		//低速
							{
								Ws2812bSet(i, 0, spiValue[i - 1], 0);
								Ws2812bSet(13 - i, 0, spiValue[i - 1], 0);
							}
				}
			}
			//尾灯
			xQueuePeek(carBreakHandle, &spiCarBreak, 1);
			if(spiCarBreak) Ws2812bSetContinuous(13, 16 + 7, 255, 0, 0);
			else Ws2812bSetContinuous(13, 16 + 7, 25, 0, 0);
		}
		Ws2812bRefresh();
		osDelay(50);
  }
  /* USER CODE END StartLightSPI */
}

void StartGimbal(void const * argument)
{
  /* USER CODE BEGIN StartGimbal */
	//云台 【未完成】
	//三轴，无自稳
	uint16_t Count = 800;

	//舵机
	HAL_TIM_PWM_Start(&htim2, TIM_CHANNEL_2);						//Pitch
	HAL_TIM_PWM_Start(&htim2, TIM_CHANNEL_3);						//Yaw
	HAL_TIM_PWM_Start(&htim2, TIM_CHANNEL_4);						//Roll

  /* Infinite loop */
  for(;;)
  {
      // 测试舵机 无意义
		if((Count += 100) > 2000) Count = 1000;
		__HAL_TIM_SET_COMPARE(&htim2, TIM_CHANNEL_2, Count);
		__HAL_TIM_SET_COMPARE(&htim2, TIM_CHANNEL_3, Count);
		__HAL_TIM_SET_COMPARE(&htim2, TIM_CHANNEL_4, Count);
    osDelay(1000);
  }
  /* USER CODE END StartGimbal */
}

void StartFeatureSelect(void const * argument)
{
  /* USER CODE BEGIN StartFeatureSelect */
	//拨码开关 功能选择
	//500ms 判断一次，根据状态 挂起/恢复 相应任务；
	//1：UART使能
	//2：DBUS使能
	//3：云台使能
	//4：WS2812B使能
	uint8_t LastStateSW1, LastStateSW2, LastStateSW3, LastStateSW4;
	uint8_t NowStateSW1, NowStateSW2, NowStateSW3, NowStateSW4;
	uint16_t selectCarSpiLight = 0;
	uint16_t selectCarControlMode = 0;

	//和现实世界情况相反，创造第一次运行条件。
	LastStateSW1 = !HAL_GPIO_ReadPin(SW1_GPIO_Port, SW1_Pin);
	LastStateSW2 = !HAL_GPIO_ReadPin(SW2_GPIO_Port, SW2_Pin);
	LastStateSW3 = !HAL_GPIO_ReadPin(SW3_GPIO_Port, SW3_Pin);
	LastStateSW4 = !HAL_GPIO_ReadPin(SW4_GPIO_Port, SW4_Pin);

  /* Infinite loop */
  for(;;)
  {
		NowStateSW1 = HAL_GPIO_ReadPin(SW1_GPIO_Port, SW1_Pin);
		NowStateSW2 = HAL_GPIO_ReadPin(SW2_GPIO_Port, SW2_Pin);
		NowStateSW3 = HAL_GPIO_ReadPin(SW3_GPIO_Port, SW3_Pin);
		NowStateSW4 = HAL_GPIO_ReadPin(SW4_GPIO_Port, SW4_Pin);

		//UART控制
		if(NowStateSW1 != LastStateSW1)
		{
			HAL_GPIO_WritePin(OutPower_GPIO_Port, OutPower_Pin, NowStateSW1);
			if(NowStateSW1 == GPIO_PIN_RESET)
			{
				vTaskResume(remoteUARTHandle);
			}
			else
			{
				vTaskSuspend(remoteUARTHandle);
			}
		}

		//DBUS控制 【需您修改解码部分，若不想写，可不使用DBUS控制】
		if(NowStateSW2 != LastStateSW2)
		{
			if(NowStateSW2 == GPIO_PIN_RESET)
			{
				vTaskResume(remoteDBUSHandle);
			}
			else
			{
				vTaskSuspend(remoteDBUSHandle);
			}
		}

		//若只开 UART，则允许UART控制
		if((NowStateSW2 == GPIO_PIN_SET) && (NowStateSW1 == GPIO_PIN_RESET))
		{
				selectCarControlMode = 2;
				xQueueOverwrite(carControlModeHandle, &selectCarControlMode);
		}

		//云台 【任务代码未完成，无意义】
		if(NowStateSW3 != LastStateSW3)
		{
			if(NowStateSW3 == GPIO_PIN_RESET)
			{
				vTaskResume(gimbalHandle);
			}
			else
			{
				vTaskSuspend(gimbalHandle);
			}
		}

		//Ws2812b灯带
		if(NowStateSW4 != LastStateSW4)
		{
			if(NowStateSW4 == GPIO_PIN_RESET)
			{
				vTaskResume(lightSPIHandle);
				selectCarSpiLight = 1;
			}
			else
			{
				vTaskSuspend(lightSPIHandle);
				selectCarSpiLight = 0;
				Ws2812ExtinguishAll();
				Ws2812bRefresh();
			}
			xQueueOverwrite(carSpiLightHandle, &selectCarSpiLight);
		}

		LastStateSW1 = NowStateSW1;
		LastStateSW2 = NowStateSW2;
		LastStateSW3 = NowStateSW3;
		LastStateSW4 = NowStateSW4;

    osDelay(500);
  }
  /* USER CODE END StartFeatureSelect */
}

void StartStatusReturn(void const * argument)
{
  /* USER CODE BEGIN StartStatusReturn */
	//状态回传
	//通过串口回传车运行参数，4Hz，间隔250ms；
	//0&1&2：帧头：0x4D 0x6F 0x65
	//3&4  ：设定速度m/s * 100 + 1000；大端模式
	//5&6  ：实际速度m/s * 100 + 1000；大端模式
	//7&8  ：设定方向（舵机偏离中点脉宽） + 1000；大端模式
	//9&10 ：电压 * 10；电流 * 10；
	//12   ：车设备状态（按位设置）
	//13 - 15：预留
	uint8_t UARTTxBuffer[16] = {0};

	uint16_t statusCarSetSpeed = 0, statusCarSetDirection = 0;
	uint16_t statusCarControlMode = 0, statusCarControlGear = 0;
	uint16_t statusCarRealSpeed = 0;
	uint16_t statusCarRunaway = 0;
	uint16_t statusCarLight = 0, statusCarBuzzer = 0;
	uint16_t statusCarSpiLight = 0;
	float statusCarVoltage = 0, statusCarCurrent = 0;

  /* Infinite loop */
  for(;;)
  {
		xQueuePeek(carSetSpeedHandle, &statusCarSetSpeed, 1);
		xQueuePeek(carSetDirectionHandle, &statusCarSetDirection, 1);
		xQueuePeek(carControlModeHandle, &statusCarControlMode, 1);
		xQueuePeek(carControlGearHandle, &statusCarControlGear, 1);
		xQueuePeek(carRunawayHandle, &statusCarRunaway, 1);
		xQueuePeek(carRealSpeedHandle, &statusCarRealSpeed, 1);

		xQueuePeek(carLightHandle, &statusCarLight, 1);
		xQueuePeek(carBuzzerHandle, &statusCarBuzzer, 1);
		xQueuePeek(carSpiLightHandle, &statusCarSpiLight, 1);
		xQueuePeek(carVoltageHandle, &statusCarVoltage, 1);
		xQueuePeek(carCurrentHandle, &statusCarCurrent, 1);

		UARTTxBuffer[0] = 0x4D;
		UARTTxBuffer[1] = 0x6F;
		UARTTxBuffer[2] = 0x65;

		//设定速度
		UARTTxBuffer[3] = (statusCarSetSpeed * 100 + 1000) >> 8;
		UARTTxBuffer[4] = (statusCarSetSpeed * 100 + 1000);

		//实际速度
		UARTTxBuffer[5] = (statusCarRealSpeed * 100 + 1000) >> 8;
		UARTTxBuffer[6] = (statusCarRealSpeed * 100 + 1000);

		//设定角度
		UARTTxBuffer[7] = (statusCarSetDirection + 1000) >> 8;
		UARTTxBuffer[8] = (statusCarSetDirection + 1000);

		UARTTxBuffer[9] = (uint8_t)(statusCarVoltage * 10);		//电压
		UARTTxBuffer[10] = (uint8_t)(statusCarCurrent * 10);		//电流（预留）

		UARTTxBuffer[11] = 0;
		UARTTxBuffer[12] = ((statusCarSpiLight & 0x0001) << 6) | ((statusCarBuzzer & 0x0001) << 5)
											| ((statusCarLight & 0x0001) << 4)
											| (((statusCarControlGear & 0x0003) - 1) << 3)
											| ((statusCarControlMode == 2 ? 1 : 0) << 2)
											| ((statusCarControlMode == 1 ? 1 : 0) << 1)
											| ((statusCarRunaway & 0x0001));

		//预留
		UARTTxBuffer[13] = 0;
		UARTTxBuffer[14] = 0;
		UARTTxBuffer[15] = 0;

		HAL_UART_Transmit_DMA(&huart1, UARTTxBuffer, 16);

    osDelay(250);
  }
  /* USER CODE END StartStatusReturn */
}

void StartVoltageMonitor(void const * argument)
{
  /* USER CODE BEGIN StartVoltageMonitor */
	//电压监测
	//避免电池过放，监测频率：正常 4Hz；低电压 10Hz
	//报警电压：3.5 * 3 = 10.5V；超时 1s 报警
	//报警动作：蜂鸣器 “滴” 10Hz；
	volatile uint16_t voltageAdcValue[2] = {0};		//ADC值
	float voltageVoltage = 0.0;			//实际电压值
	float voltageLow = 10.5, voltageSeriousLow = 10.0;				//报警电压
	uint32_t voltageLowTime = 0, voltageSeriousLowTime = 0;		//低电压计数
	float voltageCurrent = 0.0;			//电流值
	uint32_t voltageCurrentCalibration = 0;

	//车 外设
	uint16_t voltageCarHeadLight = 0, voltageCarBuzzer = 0;

	//校准ADC
	HAL_ADCEx_Calibration_Start(&hadc1);
	osDelay(2);

	//开DMA
	HAL_ADC_Start_DMA(&hadc1, (uint32_t *)voltageAdcValue, 2);

//	//校准 电流ADC值
//	for(uint8_t i = 0; i < 100; i++)
//		voltageCurrentCalibration += voltageAdcValue[0], osDelay(1);
//	voltageCurrentCalibration = (uint32_t)((float)voltageCurrentCalibration / 100 + 0.5);

	//外设初始化
	SectionPeripheralReInit();

	//自检
	HAL_GPIO_TogglePin(HeadLight_GPIO_Port, HeadLight_Pin);
	HAL_GPIO_TogglePin(Buzzer_GPIO_Port, Buzzer_Pin);
	osDelay(50);
	HAL_GPIO_TogglePin(Buzzer_GPIO_Port, Buzzer_Pin);
	osDelay(50);
	HAL_GPIO_TogglePin(HeadLight_GPIO_Port, HeadLight_Pin);
	osDelay(100);
	HAL_GPIO_TogglePin(HeadLight_GPIO_Port, HeadLight_Pin);
	osDelay(100);
	HAL_GPIO_TogglePin(HeadLight_GPIO_Port, HeadLight_Pin);

  /* Infinite loop */
  for(;;)
  {
		//大灯
		xQueuePeek(carLightHandle, &voltageCarHeadLight, 1);
		HAL_GPIO_WritePin(HeadLight_GPIO_Port, HeadLight_Pin, voltageCarHeadLight);

		//运算实际电压值，并覆写消息
		voltageVoltage = voltageAdcValue[1] * 0.00349 + 0.005;
		xQueueOverwrite(carVoltageHandle, &voltageVoltage);

		//运算实际电流值，并覆写消息
		voltageCurrent = (voltageAdcValue[0]) * 0.00533 + 0.005;
		xQueueOverwrite(carCurrentHandle, &voltageCurrent);

		//严重低电量？
		if(voltageVoltage > voltageSeriousLow)
			voltageSeriousLowTime = xTaskGetTickCount();

		//低电压？
		if(voltageVoltage > voltageLow)
			voltageLowTime = xTaskGetTickCount();

		//报警？
		if((xTaskGetTickCount() - voltageSeriousLowTime) >= 1000)
			HAL_GPIO_WritePin(Buzzer_GPIO_Port, Buzzer_Pin, (xTaskGetTickCount() % 500 < 100) ? GPIO_PIN_SET : GPIO_PIN_RESET);
		else
			if((xTaskGetTickCount() - voltageLowTime) >= 1000)
				HAL_GPIO_WritePin(Buzzer_GPIO_Port, Buzzer_Pin, (xTaskGetTickCount() % 1000 < 50) ? GPIO_PIN_SET : GPIO_PIN_RESET);
			else
			{
				xQueuePeek(carBuzzerHandle, &voltageCarBuzzer, 1);
				HAL_GPIO_WritePin(Buzzer_GPIO_Port, Buzzer_Pin, voltageCarBuzzer);
			}

		//拷贝 Debug 数据
		Voltage = (int16_t)(voltageVoltage * 100);
//		Current = (int16_t)(voltageCurrent * 100);
		Current = voltageAdcValue[0];

		osDelay(50);
  }
  /* USER CODE END StartVoltageMonitor */
}

/************************ (C) COPYRIGHT STMicroelectronics *****END OF FILE****/
